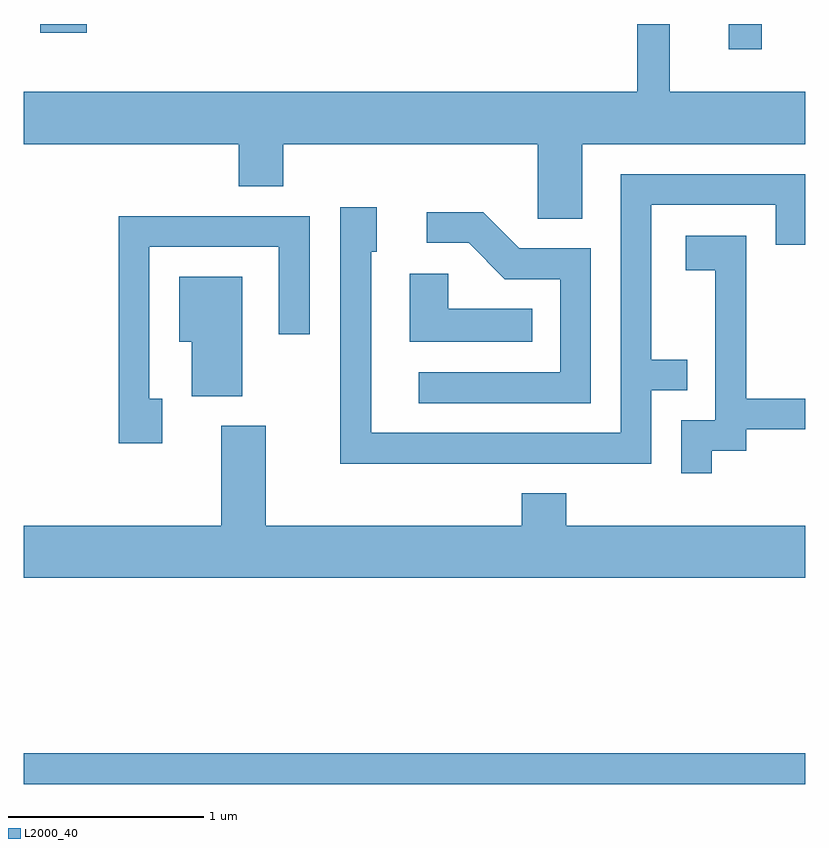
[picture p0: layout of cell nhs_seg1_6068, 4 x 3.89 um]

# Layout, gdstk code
import gdstk
lib = gdstk.Library(unit=1e-6, precision=1e-09)
def R(c, l, rs):  # rectangles x0, y0, x1, y1
    for r in rs: c.add(gdstk.rectangle(r[:2], r[2:], *l))
def P(c, l, *ps):  # polygons
    for p in ps: c.add(gdstk.Polygon(p, *l))
L2000_40 = (2000, 40)

nhs_seg1_6068 = lib.new_cell('nhs_seg1_6068')
R(nhs_seg1_6068, L2000_40, [(367.611,931.821,371.611,931.979), (371.221,935.583,371.389,935.712), (367.696,935.666,367.934,935.712)])
P(nhs_seg1_6068, L2000_40, [(370.469,935.096),(371.611,935.096),(371.611,935.364),(370.919,935.364),(370.919,935.712),(370.751,935.712),(370.751,935.364),(367.611,935.364),(367.611,935.096),(368.711,935.096),(368.711,934.881),(368.939,934.881),(368.939,935.096),(370.241,935.096),(370.241,934.716),(370.469,934.716)],
  [(370.824,933.836),(371.008,933.836),(371.008,933.994),(370.824,933.994),(370.824,934.786),(371.461,934.786),(371.461,934.581),(371.611,934.581),(371.611,934.944),(370.666,934.944),(370.666,933.619),(369.389,933.619),(369.389,934.546),(369.419,934.546),(369.419,934.774),(369.231,934.774),(369.231,933.461),(370.824,933.461)],
  [(370.514,934.564),(370.147,934.564),(369.962,934.749),(369.673,934.749),(369.673,934.591),(369.889,934.591),(370.074,934.406),(370.356,934.406),(370.356,933.929),(369.633,933.929),(369.633,933.771),(370.514,933.771)],
  [(368.319,933.794),(368.254,933.794),(368.254,934.571),(368.916,934.571),(368.916,934.123),(369.074,934.123),(369.074,934.729),(368.096,934.729),(368.096,933.566),(368.319,933.566)],
  [(371.134,933.526),(371.309,933.526),(371.309,933.636),(371.611,933.636),(371.611,933.794),(371.309,933.794),(371.309,934.629),(371.001,934.629),(371.001,934.451),(371.151,934.451),(371.151,933.684),(370.976,933.684),(370.976,933.413),(371.134,933.413)],
  [(370.213,934.254),(369.784,934.254),(369.784,934.434),(369.586,934.434),(369.586,934.086),(370.213,934.086)],
  [(368.729,934.419),(368.406,934.419),(368.406,934.086),(368.471,934.086),(368.471,933.806),(368.729,933.806)],
  [(370.161,933.309),(370.161,933.144),(368.849,933.144),(368.849,933.654),(368.621,933.654),(368.621,933.144),(367.611,933.144),(367.611,932.876),(371.611,932.876),(371.611,933.144),(370.389,933.144),(370.389,933.309)])

lib.write_gds('nhs_seg1_6068.gds')
